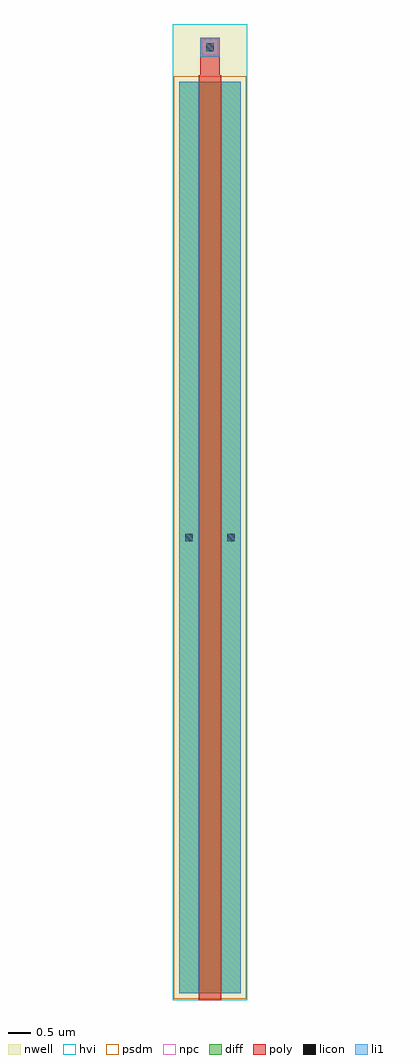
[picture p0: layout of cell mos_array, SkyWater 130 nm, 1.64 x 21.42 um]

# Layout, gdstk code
import gdstk
lib = gdstk.Library(unit=1e-6, precision=1e-09)
def R(c, l, rs):  # rectangles x0, y0, x1, y1
    for r in rs: c.add(gdstk.rectangle(r[:2], r[2:], *l))
nwell = (64, 20)
diff = (65, 20)
poly = (66, 20)
licon = (66, 44)
li1 = (67, 20)
hvi = (75, 20)
psdm = (94, 20)
npc = (95, 20)

mos_array = lib.new_cell('mos_array')
R(mos_array, nwell, [(-0.15,-0.15,1.49,21.27)])
R(mos_array, diff, [(0,0,1.34,20)])
R(mos_array, poly, [(0.42,-0.15,0.92,20), (0.42,20,0.92,20.15), (0.42,20,0.92,20.15), (0.46,20.15,0.88,20.97)])
R(mos_array, licon, [(0.125,9.915,0.295,10.085), (1.045,9.915,1.215,10.085), (0.585,20.675,0.755,20.845)])
R(mos_array, li1, [(0,0,0.42,20), (0.92,0,1.34,20), (0.46,20.55,0.88,20.97)])
R(mos_array, hvi, [(-0.15,-0.15,1.49,21.27)])
R(mos_array, psdm, [(-0.125,-0.125,1.465,20.125)])
R(mos_array, npc, [(0.49,20.58,0.85,20.94)])

lib.write_gds('mos_array.gds')
